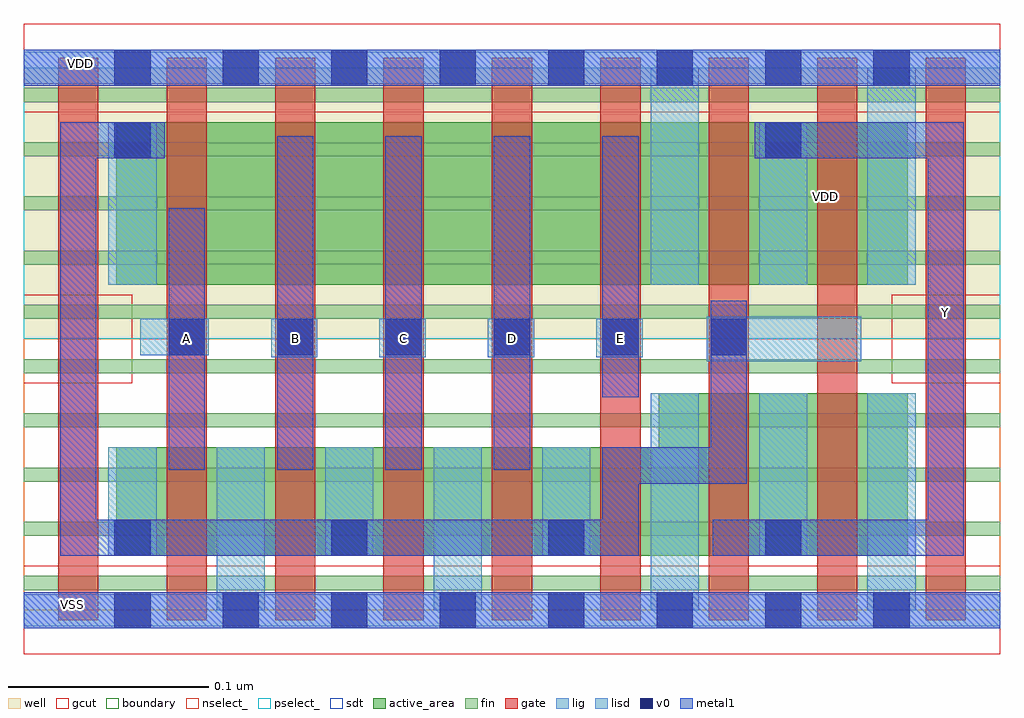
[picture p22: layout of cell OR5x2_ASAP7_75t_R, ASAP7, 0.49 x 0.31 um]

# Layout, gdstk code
import gdstk
lib = gdstk.Library(unit=1e-6, precision=1e-09)
def R(c, l, rs):  # rectangles x0, y0, x1, y1
    for r in rs: c.add(gdstk.rectangle(r[:2], r[2:], *l))
def A(c, l, x, y, w, h, nx, ny, dx, dy):  # array of equal rectangles
    R(c, l, [(x+i*dx, y+j*dy, x+i*dx+w, y+j*dy+h) for i in range(nx) for j in range(ny)])
def P(c, l, *ps):  # polygons
    for p in ps: c.add(gdstk.Polygon(p, *l))
well = (1, 0)
fin = (2, 0)
gate = (7, 0)
gcut = (10, 0)
active_area = (11, 0)
nselect_ = (12, 0)
pselect_ = (13, 0)
lig = (16, 0)
lisd = (17, 0)
v0 = (18, 0)
metal1 = (19, 0)
sdt = (88, 0)
boundary = (100, 0)

or5x2_asap7_75t_r = lib.new_cell('OR5x2_ASAP7_75t_R')
R(or5x2_asap7_75t_r, well, [(0,0.135,0.432,0.27), (0.27,0.135,0.486,0.27)])
A(or5x2_asap7_75t_r, fin, 0, 0.01, 0.432, 0.007, 1, 10, 0, 0.027)
A(or5x2_asap7_75t_r, fin, 0.27, 0.01, 0.216, 0.007, 1, 10, 0, 0.027)
A(or5x2_asap7_75t_r, gate, 0.017, -0.005, 0.02, 0.28, 9, 1, 0.054, 0)
R(or5x2_asap7_75t_r, gcut, [(0,-0.022,0.486,0.022), (0,0.113,0.054,0.157), (0.432,0.113,0.486,0.157), (0,0.248,0.486,0.292)])
R(or5x2_asap7_75t_r, active_area, [(0.316,0.027,0.44,0.108), (0.046,0.162,0.386,0.243), (0.316,0.162,0.44,0.243)])
P(or5x2_asap7_75t_r, active_area, [(0.046,0.027),(0.046,0.081),(0.316,0.081),(0.316,0.108),(0.386,0.108),(0.386,0.027)])
R(or5x2_asap7_75t_r, nselect_, [(0,0,0.432,0.135), (0.27,0,0.486,0.135)])
R(or5x2_asap7_75t_r, pselect_, [(0,0.135,0.432,0.27), (0.27,0.135,0.486,0.27)])
A(or5x2_asap7_75t_r, lig, 0.123, 0.126, 0.023, 0.019, 4, 1, 0.054, 0)
R(or5x2_asap7_75t_r, lig, [(0,-0.008,0.486,0.008), (0.34,0.124,0.417,0.146), (0.058,0.127,0.092,0.145), (0,0.262,0.486,0.278)])
A(or5x2_asap7_75t_r, lisd, 0.042, 0.027, 0.024, 0.054, 3, 1, 0.108, 0)
R(or5x2_asap7_75t_r, lisd, [(0.096,0,0.12,0.081), (0.204,0,0.228,0.081), (0.312,0,0.336,0.108), (0.42,0,0.444,0.108), (0.366,0.027,0.39,0.108), (0.042,0.162,0.066,0.243), (0.312,0.162,0.336,0.27), (0.366,0.162,0.39,0.243), (0.42,0.162,0.444,0.27)])
A(or5x2_asap7_75t_r, v0, 0.045, -0.009, 0.018, 0.018, 8, 2, 0.054, 0.27)
A(or5x2_asap7_75t_r, v0, 0.045, 0.027, 0.018, 0.018, 4, 1, 0.108, 0)
A(or5x2_asap7_75t_r, v0, 0.072, 0.127, 0.018, 0.018, 6, 1, 0.054, 0)
R(or5x2_asap7_75t_r, v0, [(0.045,0.225,0.063,0.243), (0.369,0.225,0.387,0.243)])
A(or5x2_asap7_75t_r, metal1, 0.126, 0.07, 0.018, 0.166, 3, 1, 0.054, 0)
R(or5x2_asap7_75t_r, metal1, [(0,-0.009,0.486,0.009), (0.072,0.07,0.09,0.2), (0.288,0.106,0.306,0.236), (0,0.261,0.486,0.279)])
P(or5x2_asap7_75t_r, metal1, [(0.343,0.027),(0.343,0.045),(0.45,0.045),(0.45,0.225),(0.364,0.225),(0.364,0.243),(0.468,0.243),(0.468,0.027)],
  [(0.018,0.027),(0.018,0.243),(0.07,0.243),(0.07,0.225),(0.036,0.225),(0.036,0.045),(0.288,0.045),(0.288,0.081),(0.342,0.081),(0.342,0.154),(0.36,0.154),(0.36,0.063),(0.306,0.063),(0.306,0.027)])
A(or5x2_asap7_75t_r, sdt, 0.042, 0.027, 0.024, 0.054, 5, 1, 0.054, 0)
R(or5x2_asap7_75t_r, sdt, [(0.312,0.027,0.336,0.108), (0.312,0.027,0.336,0.108), (0.366,0.027,0.39,0.108), (0.366,0.027,0.39,0.108), (0.42,0.027,0.444,0.108), (0.042,0.162,0.066,0.243), (0.312,0.162,0.336,0.243), (0.312,0.162,0.336,0.243), (0.366,0.162,0.39,0.243), (0.366,0.162,0.39,0.243), (0.42,0.162,0.444,0.243)])
R(or5x2_asap7_75t_r, boundary, [(0,0,0.432,0.27), (0.27,0,0.486,0.27)])
or5x2_asap7_75t_r.add(gdstk.Label('Y', (0.459,0.148), layer=19, texttype=251))
or5x2_asap7_75t_r.add(gdstk.Label('B', (0.135,0.135), layer=19, texttype=251))
or5x2_asap7_75t_r.add(gdstk.Label('A', (0.081,0.135), layer=19, texttype=251))
or5x2_asap7_75t_r.add(gdstk.Label('C', (0.189,0.135), layer=19, texttype=251))
or5x2_asap7_75t_r.add(gdstk.Label('VDD', (0.028,0.272), layer=19, texttype=251))
or5x2_asap7_75t_r.add(gdstk.Label('VSS', (0.024,0.003), layer=19, texttype=251))
or5x2_asap7_75t_r.add(gdstk.Label('D', (0.243,0.135), layer=19, texttype=251))
or5x2_asap7_75t_r.add(gdstk.Label('E', (0.297,0.135), layer=19, texttype=251))
or5x2_asap7_75t_r.add(gdstk.Label('VDD', (0.399,0.206), layer=1, texttype=251))
or5x2_asap7_75t_r.add(gdstk.Label('VSS', (0.186,-0.052), layer=3, texttype=251))

lib.write_gds('OR5x2_ASAP7_75t_R.gds')
